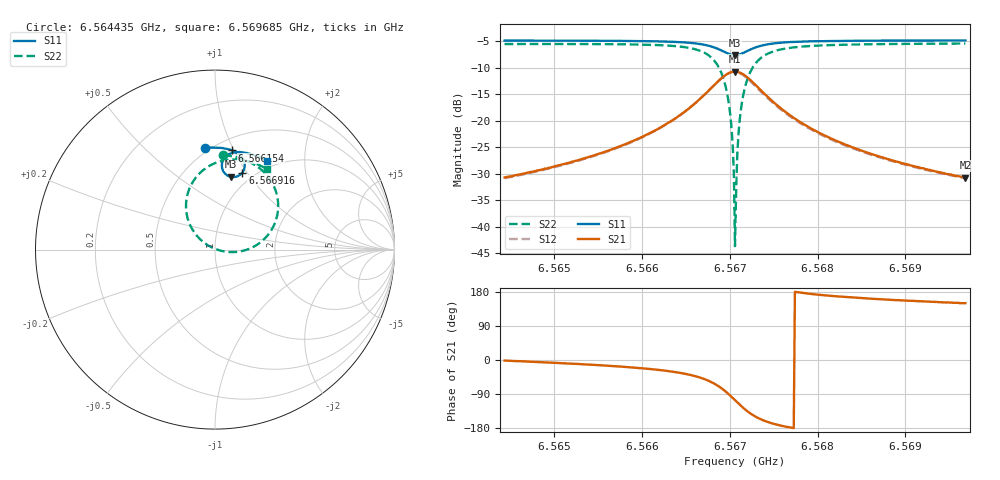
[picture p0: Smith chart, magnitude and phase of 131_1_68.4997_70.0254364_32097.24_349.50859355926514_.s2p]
#  HZ  S  RI  R  50.00
! Rohde & Schwarz Vector Network Analyzer
! Rohde-Schwarz,ZNB20-2Port,1311601062101988,3.16
! Created: UTC 3/20/2024, 4:54:22 PM
! freq[Hz]  re:S11  im:S11  re:S21  im:S21  re:S12  im:S12  re:S22  im:S22
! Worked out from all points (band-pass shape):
!   401 points, 6.564435 GHz to 6.569685 GHz, reference 50 ohm
!   highest |S21| = -10.73 dB at 6.56706 GHz (marker M1); lowest = -30.7 dB at 6.569685 GHz (marker M2)
!   |S21| within 3 dB of the highest: 6.566797 GHz to 6.567322 GHz (525.7 kHz wide, 0.008 % of centre)
!   lowest |S11| = -7.6 dB at 6.56706 GHz (marker M3), VSWR 2.42, Z = 41.5 + j40.7 ohm
!   |S11| at or under -10 dB: nowhere
!   |S22| runs from -43.7 to -5.4 dB; largest |S21 - S12| = 0.014
!   S11 on the Smith chart (normalised r, x): 6.564435 GHz: 0.47, +0.79; 6.566154 GHz: 0.61, +0.98; 6.566916 GHz: 0.88, +0.95; 6.569685 GHz: 0.90, +1.31
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6.5644354e9  -0.0563 0.5665  0.0291 -0.000767  0.0285 -0.00123  0.0455 0.5265
6.5653146e9  0.0163 0.5678  0.0427 -0.0085  0.0418 -0.00904  0.1306 0.5117
6.5661545e9  0.0961 0.5525  0.0734 -0.0347  0.0723 -0.0355  0.2446 0.4563
6.5661938e9  0.1004 0.5507  0.0759 -0.0374  0.0747 -0.0383  0.2518 0.4506
6.5667056e9  0.1607 0.4957  0.112 -0.1328  0.109 -0.1355  0.3513 0.2649
6.5668237e9  0.1651 0.462  0.1006 -0.1918  0.0957 -0.1954  0.3355 0.1525
6.5669156e9  0.1524 0.4293  0.0609 -0.2477  0.0521 -0.2507  0.2626 0.0482
6.5669943e9  0.1223 0.4073  -0.00766 -0.282  -0.0198 -0.2812  0.1361 -0.0107
6.5670206e9  0.1088 0.4044  -0.0363 -0.2854  -0.0491 -0.2824  0.0842 -0.0139
6.5670337e9  0.1019 0.4038  -0.051 -0.2848  -0.0637 -0.2808  0.058 -0.0114
6.5670468e9  0.0947 0.4042  -0.0658 -0.2829  -0.0784 -0.2777  0.0316 -0.00612
6.5670599e9  0.0876 0.4054  -0.0804 -0.2793  -0.0929 -0.2731  0.00632 0.00169
6.5670862e9  0.0742 0.4101  -0.1081 -0.2683  -0.1194 -0.2598  -0.0412 0.0251
6.5670993e9  0.0682 0.4134  -0.1207 -0.261  -0.1314 -0.2515  -0.0625 0.0399
6.5671124e9  0.0625 0.4176  -0.1327 -0.2525  -0.1423 -0.2422  -0.0821 0.0567
6.5671387e9  0.0529 0.427  -0.1528 -0.2328  -0.1606 -0.2215  -0.1141 0.094
6.5671912e9  0.0409 0.4491  -0.179 -0.1885  -0.1829 -0.1764  -0.1527 0.175
6.5672568e9  0.0388 0.4759  -0.189 -0.1357  -0.1892 -0.1248  -0.1603 0.2684
6.5675061e9  0.077 0.5306  -0.1448 -0.0286  -0.1416 -0.0241  -0.0583 0.4486
6.5679392e9  0.1399 0.5432  -0.0828 0.00872  -0.0808 0.01  0.0809 0.5012
6.5688184e9  0.2234 0.5238  -0.0402 0.0153  -0.0392 0.0156  0.2118 0.4842
6.5696845e9  0.2879 0.4931  -0.0252 0.0146  -0.0245 0.0147  0.2895 0.4491
